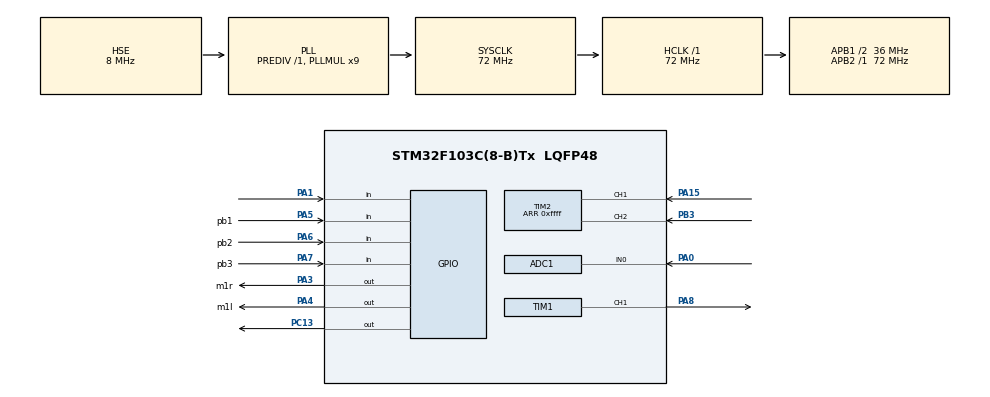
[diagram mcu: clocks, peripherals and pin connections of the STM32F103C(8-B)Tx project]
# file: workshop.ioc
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ADC1.Channel-0\#ChannelRegularConversion=ADC_CHANNEL_0
ADC1.ContinuousConvMode=ENABLE
ADC1.NbrOfConversionFlag=1
ADC1.Rank-0\#ChannelRegularConversion=1
ADC1.SamplingTime-0\#ChannelRegularConversion=ADC_SAMPLETIME_1CYCLE_5
ADC1.master=1
Mcu.Family=STM32F1
Mcu.Name=STM32F103C(8-B)Tx
Mcu.Package=LQFP48
NVIC.PriorityGroup=NVIC_PRIORITYGROUP_4
NVIC.TIM2_IRQn=true\:0\:0\:false\:false\:true\:true\:true\:true
PA0-WKUP.Signal=ADCx_IN0
PA1.GPIO_PuPd=GPIO_PULLUP
PA1.Signal=GPIO_Input
PA13.Mode=Serial_Wire
PA13.Signal=SYS_JTMS-SWDIO
PA14.Mode=Serial_Wire
PA14.Signal=SYS_JTCK-SWCLK
PA15.GPIO_PuPd=GPIO_PULLUP
PA15.Signal=S_TIM2_CH1_ETR
PA3.GPIO_Label=m1r
PA3.Signal=GPIO_Output
PA4.GPIO_Label=m1l
PA4.Signal=GPIO_Output
PA5.GPIO_Label=pb1
PA5.GPIO_PuPd=GPIO_PULLUP
PA5.Signal=GPIO_Input
PA6.GPIO_Label=pb2
PA6.GPIO_PuPd=GPIO_PULLUP
PA6.Signal=GPIO_Input
PA7.GPIO_Label=pb3
PA7.GPIO_PuPd=GPIO_PULLUP
PA7.Signal=GPIO_Input
PA8.Signal=S_TIM1_CH1
PB3.GPIO_PuPd=GPIO_PULLUP
PB3.Signal=S_TIM2_CH2
PC13-TAMPER-RTC.Signal=GPIO_Output
PD0-OSC_IN.Mode=HSE-External-Oscillator
PD0-OSC_IN.Signal=RCC_OSC_IN
PD1-OSC_OUT.Mode=HSE-External-Oscillator
PD1-OSC_OUT.Signal=RCC_OSC_OUT
ProjectManager.HeapSize=0x200
ProjectManager.StackSize=0x400
ProjectManager.TargetToolchain=STM32CubeIDE
RCC.ADCPresc=RCC_ADCPCLK2_DIV6
RCC.AHBFreq_Value=72000000
RCC.APB1CLKDivider=RCC_HCLK_DIV2
RCC.APB1Freq_Value=36000000
RCC.APB1TimFreq_Value=72000000
RCC.APB2Freq_Value=72000000
RCC.APB2TimFreq_Value=72000000
RCC.HCLKFreq_Value=72000000
RCC.PLLMUL=RCC_PLL_MUL9
RCC.PLLSourceVirtual=RCC_PLLSOURCE_HSE
RCC.SYSCLKFreq_VALUE=72000000
RCC.SYSCLKSource=RCC_SYSCLKSOURCE_PLLCLK
RCC.USBFreq_Value=72000000
SH.ADCx_IN0.0=ADC1_IN0,IN0
SH.S_TIM1_CH1.0=TIM1_CH1,PWM Generation1 CH1
SH.S_TIM2_CH1_ETR.0=TIM2_CH1,Encoder_Interface
SH.S_TIM2_CH2.0=TIM2_CH2,Encoder_Interface
TIM1.Channel-PWM\ Generation1\ CH1=TIM_CHANNEL_1
TIM1.Period=100-1
TIM1.Prescaler=72-1
TIM2.EncoderMode=TIM_ENCODERMODE_TI12
TIM2.Period=0xffff
VP_TIM1_VS_ClockSourceINT.Mode=Internal
board=custom

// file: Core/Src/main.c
/* USER CODE BEGIN Header */
/**
  ******************************************************************************
  * @file           : main.c
  * @brief          : Main program body
  ******************************************************************************
  * @attention
  *
  * Copyright (c) 2024 STMicroelectronics.
  * All rights reserved.
  *
  * This software is licensed under terms that can be found in the LICENSE file
  * in the root directory of this software component.
  * If no LICENSE file comes with this software, it is provided AS-IS.
  *
  ******************************************************************************
  */
/* USER CODE END Header */
#include "main.h"

ADC_HandleTypeDef hadc1;

TIM_HandleTypeDef htim1;
TIM_HandleTypeDef htim2;

/* USER CODE BEGIN PV */
uint32_t adc_val;

int pb1;
int pb2;
int pb3;

uint32_t counter = 0;
uint32_t count = 0;
uint16_t position = 0;
int speed = 0;

int pwmM;

/* USER CODE END PV */

void SystemClock_Config(void);
static void MX_GPIO_Init(void);
static void MX_TIM1_Init(void);
static void MX_TIM2_Init(void);
static void MX_ADC1_Init(void);

/* USER CODE BEGIN 0 */

int buff = 0;

void get_potVal(void){
  HAL_ADC_Start(&hadc1);
  HAL_ADC_PollForConversion(&hadc1, 1);
  adc_val = HAL_ADC_GetValue(&hadc1);
  pwmM = adc_val/40.29;
  HAL_ADC_Stop(&hadc1);
  HAL_Delay(1);
}

void Rotate_L(void){
  HAL_GPIO_WritePin(GPIOA, GPIO_PIN_3, SET);
  HAL_GPIO_WritePin(GPIOA, GPIO_PIN_4, RESET);
}

void Rotate_R(void){
  HAL_GPIO_WritePin(GPIOA, GPIO_PIN_3, RESET);
  HAL_GPIO_WritePin(GPIOA, GPIO_PIN_4, SET);
}

void stop(void){
  TIM1->CCR1 = 0;
  HAL_GPIO_WritePin(GPIOA, GPIO_PIN_3, RESET);
  HAL_GPIO_WritePin(GPIOA, GPIO_PIN_4, RESET);
}

//
//int state = 0;
//
//int16_t count = 0;
//int16_t position = 0;
//uint32_t counter = 0;
//int speed = 0;
//
void HAL_TIM_IC_CaptureCallback(TIM_HandleTypeDef *htim){
	if(htim == &htim2){
	counter = __HAL_TIM_GET_COUNTER(htim);
	count = (uint32_t) counter;
	position = count/4;}
	}
/* USER CODE END 0 */

int main(void)
{

  /* MCU Configuration--------------------------------------------------------*/

  /* Reset of all peripherals, Initializes the Flash interface and the Systick. */
  HAL_Init();

  /* Configure the system clock */
  SystemClock_Config();

  /* Initialize all configured peripherals */
  MX_GPIO_Init();
  MX_TIM1_Init();
  MX_TIM2_Init();
  MX_ADC1_Init();
  /* USER CODE BEGIN 2 */
  HAL_TIM_PWM_Start(&htim1, TIM_CHANNEL_1);
  HAL_TIM_PWM_Start(&htim1, TIM_CHANNEL_2);
  HAL_TIM_Encoder_Start_IT(&htim2, TIM_CHANNEL_ALL);
  /* USER CODE END 2 */

  /* Infinite loop */
  while (1)
  {

    /* USER CODE BEGIN 3 */
	  pb1 = HAL_GPIO_ReadPin(GPIOA, GPIO_PIN_5);
	  pb2 = HAL_GPIO_ReadPin(GPIOA, GPIO_PIN_6);
	  pb3 = HAL_GPIO_ReadPin(GPIOA, GPIO_PIN_7);

	  get_potVal();

	  TIM1->CCR1 = adc_val/40.29;

	  if(pb1 == 1 && pb2 == 1 && pb3 == 1 && buff == 0){
		stop();}
	  else if (pb1 == 0 && pb2 == 1 && pb3 == 1){
		buff = 1;
		Rotate_R();}
	  else if (pb1 == 1 && pb2 == 0 && pb3 == 1){
		buff = 1;
	  	Rotate_L();}
	  else if (pb1 == 1 && pb2 == 1 && pb3 == 0){
		buff = 0;}
  }
  /* USER CODE END 3 */
}

void SystemClock_Config(void)
{
  RCC_OscInitTypeDef RCC_OscInitStruct = {0};
  RCC_ClkInitTypeDef RCC_ClkInitStruct = {0};
  RCC_PeriphCLKInitTypeDef PeriphClkInit = {0};

  /** Initializes the RCC Oscillators according to the specified parameters
  * in the RCC_OscInitTypeDef structure.
  */
  RCC_OscInitStruct.OscillatorType = RCC_OSCILLATORTYPE_HSE;
  RCC_OscInitStruct.HSEState = RCC_HSE_ON;
  RCC_OscInitStruct.HSEPredivValue = RCC_HSE_PREDIV_DIV1;
  RCC_OscInitStruct.HSIState = RCC_HSI_ON;
  RCC_OscInitStruct.PLL.PLLState = RCC_PLL_ON;
  RCC_OscInitStruct.PLL.PLLSource = RCC_PLLSOURCE_HSE;
  RCC_OscInitStruct.PLL.PLLMUL = RCC_PLL_MUL9;
  if (HAL_RCC_OscConfig(&RCC_OscInitStruct) != HAL_OK)
  {
    Error_Handler();
  }

  /** Initializes the CPU, AHB and APB buses clocks
  */
  RCC_ClkInitStruct.ClockType = RCC_CLOCKTYPE_HCLK|RCC_CLOCKTYPE_SYSCLK
                              |RCC_CLOCKTYPE_PCLK1|RCC_CLOCKTYPE_PCLK2;
  RCC_ClkInitStruct.SYSCLKSource = RCC_SYSCLKSOURCE_PLLCLK;
  RCC_ClkInitStruct.AHBCLKDivider = RCC_SYSCLK_DIV1;
  RCC_ClkInitStruct.APB1CLKDivider = RCC_HCLK_DIV2;
  RCC_ClkInitStruct.APB2CLKDivider = RCC_HCLK_DIV1;

  if (HAL_RCC_ClockConfig(&RCC_ClkInitStruct, FLASH_LATENCY_2) != HAL_OK)
  {
    Error_Handler();
  }
  PeriphClkInit.PeriphClockSelection = RCC_PERIPHCLK_ADC;
  PeriphClkInit.AdcClockSelection = RCC_ADCPCLK2_DIV6;
  if (HAL_RCCEx_PeriphCLKConfig(&PeriphClkInit) != HAL_OK)
  {
    Error_Handler();
  }
}

static void MX_ADC1_Init(void)
{

  ADC_ChannelConfTypeDef sConfig = {0};

  /** Common config
  */
  hadc1.Instance = ADC1;
  hadc1.Init.ScanConvMode = ADC_SCAN_DISABLE;
  hadc1.Init.ContinuousConvMode = ENABLE;
  hadc1.Init.DiscontinuousConvMode = DISABLE;
  hadc1.Init.ExternalTrigConv = ADC_SOFTWARE_START;
  hadc1.Init.DataAlign = ADC_DATAALIGN_RIGHT;
  hadc1.Init.NbrOfConversion = 1;
  if (HAL_ADC_Init(&hadc1) != HAL_OK)
  {
    Error_Handler();
  }

  /** Configure Regular Channel
  */
  sConfig.Channel = ADC_CHANNEL_0;
  sConfig.Rank = ADC_REGULAR_RANK_1;
  sConfig.SamplingTime = ADC_SAMPLETIME_1CYCLE_5;
  if (HAL_ADC_ConfigChannel(&hadc1, &sConfig) != HAL_OK)
  {
    Error_Handler();
  }

}

static void MX_TIM1_Init(void)
{

  TIM_ClockConfigTypeDef sClockSourceConfig = {0};
  TIM_MasterConfigTypeDef sMasterConfig = {0};
  TIM_OC_InitTypeDef sConfigOC = {0};
  TIM_BreakDeadTimeConfigTypeDef sBreakDeadTimeConfig = {0};

  htim1.Instance = TIM1;
  htim1.Init.Prescaler = 72-1;
  htim1.Init.CounterMode = TIM_COUNTERMODE_UP;
  htim1.Init.Period = 100-1;
  htim1.Init.ClockDivision = TIM_CLOCKDIVISION_DIV1;
  htim1.Init.RepetitionCounter = 0;
  htim1.Init.AutoReloadPreload = TIM_AUTORELOAD_PRELOAD_DISABLE;
  if (HAL_TIM_Base_Init(&htim1) != HAL_OK)
  {
    Error_Handler();
  }
  sClockSourceConfig.ClockSource = TIM_CLOCKSOURCE_INTERNAL;
  if (HAL_TIM_ConfigClockSource(&htim1, &sClockSourceConfig) != HAL_OK)
  {
    Error_Handler();
  }
  if (HAL_TIM_PWM_Init(&htim1) != HAL_OK)
  {
    Error_Handler();
  }
  sMasterConfig.MasterOutputTrigger = TIM_TRGO_RESET;
  sMasterConfig.MasterSlaveMode = TIM_MASTERSLAVEMODE_DISABLE;
  if (HAL_TIMEx_MasterConfigSynchronization(&htim1, &sMasterConfig) != HAL_OK)
  {
    Error_Handler();
  }
  sConfigOC.OCMode = TIM_OCMODE_PWM1;
  sConfigOC.Pulse = 0;
  sConfigOC.OCPolarity = TIM_OCPOLARITY_HIGH;
  sConfigOC.OCNPolarity = TIM_OCNPOLARITY_HIGH;
  sConfigOC.OCFastMode = TIM_OCFAST_DISABLE;
  sConfigOC.OCIdleState = TIM_OCIDLESTATE_RESET;
  sConfigOC.OCNIdleState = TIM_OCNIDLESTATE_RESET;
  if (HAL_TIM_PWM_ConfigChannel(&htim1, &sConfigOC, TIM_CHANNEL_1) != HAL_OK)
  {
    Error_Handler();
  }
  sBreakDeadTimeConfig.OffStateRunMode = TIM_OSSR_DISABLE;
  sBreakDeadTimeConfig.OffStateIDLEMode = TIM_OSSI_DISABLE;
  sBreakDeadTimeConfig.LockLevel = TIM_LOCKLEVEL_OFF;
  sBreakDeadTimeConfig.DeadTime = 0;
  sBreakDeadTimeConfig.BreakState = TIM_BREAK_DISABLE;
  sBreakDeadTimeConfig.BreakPolarity = TIM_BREAKPOLARITY_HIGH;
  sBreakDeadTimeConfig.AutomaticOutput = TIM_AUTOMATICOUTPUT_DISABLE;
  if (HAL_TIMEx_ConfigBreakDeadTime(&htim1, &sBreakDeadTimeConfig) != HAL_OK)
  {
    Error_Handler();
  }
  HAL_TIM_MspPostInit(&htim1);

}

static void MX_TIM2_Init(void)
{

  TIM_Encoder_InitTypeDef sConfig = {0};
  TIM_MasterConfigTypeDef sMasterConfig = {0};

  htim2.Instance = TIM2;
  htim2.Init.Prescaler = 0;
  htim2.Init.CounterMode = TIM_COUNTERMODE_UP;
  htim2.Init.Period = 0xffff;
  htim2.Init.ClockDivision = TIM_CLOCKDIVISION_DIV1;
  htim2.Init.AutoReloadPreload = TIM_AUTORELOAD_PRELOAD_DISABLE;
  sConfig.EncoderMode = TIM_ENCODERMODE_TI12;
  sConfig.IC1Polarity = TIM_ICPOLARITY_RISING;
  sConfig.IC1Selection = TIM_ICSELECTION_DIRECTTI;
  sConfig.IC1Prescaler = TIM_ICPSC_DIV1;
  sConfig.IC1Filter = 0;
  sConfig.IC2Polarity = TIM_ICPOLARITY_RISING;
  sConfig.IC2Selection = TIM_ICSELECTION_DIRECTTI;
  sConfig.IC2Prescaler = TIM_ICPSC_DIV1;
  sConfig.IC2Filter = 0;
  if (HAL_TIM_Encoder_Init(&htim2, &sConfig) != HAL_OK)
  {
    Error_Handler();
  }
  sMasterConfig.MasterOutputTrigger = TIM_TRGO_RESET;
  sMasterConfig.MasterSlaveMode = TIM_MASTERSLAVEMODE_DISABLE;
  if (HAL_TIMEx_MasterConfigSynchronization(&htim2, &sMasterConfig) != HAL_OK)
  {
    Error_Handler();
  }

}

static void MX_GPIO_Init(void)
{
  GPIO_InitTypeDef GPIO_InitStruct = {0};

  /* GPIO Ports Clock Enable */
  __HAL_RCC_GPIOC_CLK_ENABLE();
  __HAL_RCC_GPIOD_CLK_ENABLE();
  __HAL_RCC_GPIOA_CLK_ENABLE();
  __HAL_RCC_GPIOB_CLK_ENABLE();

  /*Configure GPIO pin Output Level */
  HAL_GPIO_WritePin(GPIOC, GPIO_PIN_13, GPIO_PIN_RESET);

  /*Configure GPIO pin Output Level */
  HAL_GPIO_WritePin(GPIOA, m1r_Pin|m1l_Pin, GPIO_PIN_RESET);

  /*Configure GPIO pin : PC13 */
  GPIO_InitStruct.Pin = GPIO_PIN_13;
  GPIO_InitStruct.Mode = GPIO_MODE_OUTPUT_PP;
  GPIO_InitStruct.Pull = GPIO_NOPULL;
  GPIO_InitStruct.Speed = GPIO_SPEED_FREQ_LOW;
  HAL_GPIO_Init(GPIOC, &GPIO_InitStruct);

  /*Configure GPIO pins : PA1 pb1_Pin pb2_Pin pb3_Pin */
  GPIO_InitStruct.Pin = GPIO_PIN_1|pb1_Pin|pb2_Pin|pb3_Pin;
  GPIO_InitStruct.Mode = GPIO_MODE_INPUT;
  GPIO_InitStruct.Pull = GPIO_PULLUP;
  HAL_GPIO_Init(GPIOA, &GPIO_InitStruct);

  /*Configure GPIO pins : m1r_Pin m1l_Pin */
  GPIO_InitStruct.Pin = m1r_Pin|m1l_Pin;
  GPIO_InitStruct.Mode = GPIO_MODE_OUTPUT_PP;
  GPIO_InitStruct.Pull = GPIO_NOPULL;
  GPIO_InitStruct.Speed = GPIO_SPEED_FREQ_LOW;
  HAL_GPIO_Init(GPIOA, &GPIO_InitStruct);

}

void Error_Handler(void)
{
  __disable_irq();
  while (1)
  {
  }
}
